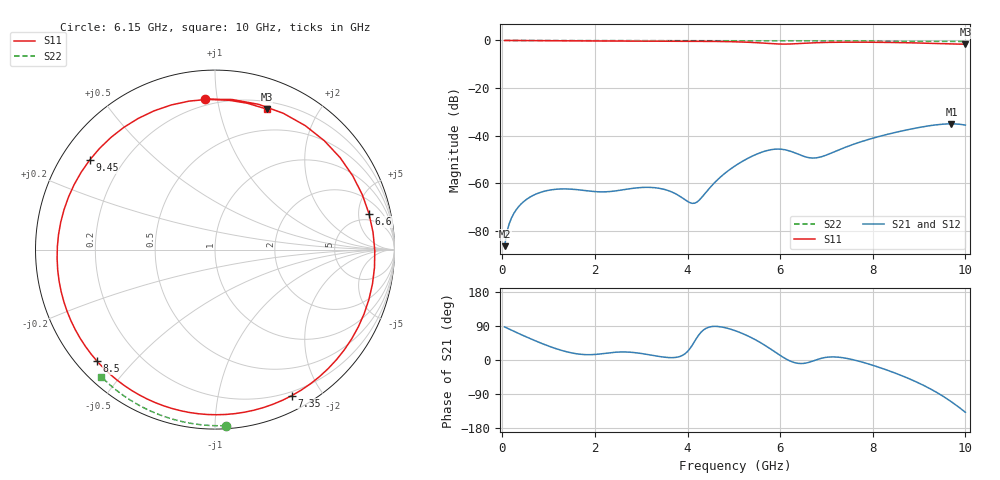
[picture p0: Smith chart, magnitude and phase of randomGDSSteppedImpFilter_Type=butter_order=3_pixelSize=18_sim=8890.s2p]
! freq	dB(S11)	phase(S11)	dB(S12)	phase(S12)
!  dB(S21)	phase(S21)	dB(S22)	phase(S22)
!S-par simulation data
#  GHz  S  DB  R 50
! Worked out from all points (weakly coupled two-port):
!   200 points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, 50 MHz to 10 GHz, reference 50 ohm
!   highest |S21| = -35.08 dB at 9.7 GHz (marker M1); lowest = -86.5 dB at 50 MHz (marker M2)
!   lowest |S11| = -1.6 dB at 10 GHz (marker M3), VSWR 11.06, Z = 13.6 + j69.8 ohm
!   |S11| at or under -10 dB: nowhere
!   |S22| runs from -0.4 to 0.0 dB; largest |S21 - S12| = 0
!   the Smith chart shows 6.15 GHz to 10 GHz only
!   S11 on the Smith chart (normalised r, x): 6.15 GHz: 0.16, +0.92; 6.6 GHz: 3.73, +6.65; 7.35 GHz: 0.16, -1.65; 8.5 GHz: 0.06, -0.40; 9.45 GHz: 0.08, +0.32; 10 GHz: 0.27, +1.40
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0.05  -0.01 -5.0  -86.54 87.2  -86.54 87.2  -0.00 -0.8
0.4  -0.05 -39.7  -68.91 67.4  -68.91 67.4  -0.01 -6.1
0.9  -0.12 -88.7  -63.46 41.4  -63.46 41.4  -0.02 -13.6
1.75  -0.19 -169.5  -63.05 14.5  -63.05 14.5  -0.03 -26.3
2.15  -0.22 153.5  -63.70 16.5  -63.70 16.5  -0.04 -32.1
2.65  -0.24 108.7  -62.68 21.2  -62.68 21.2  -0.05 -39.4
3.4  -0.28 45.4  -62.23 9.1  -62.23 9.1  -0.07 -50.0
4.2  -0.34 -17.4  -68.03 58.4  -68.03 58.4  -0.09 -61.0
5.05  -0.58 -89.1  -52.46 76.4  -52.46 76.4  -0.11 -72.4
5.4  -0.84 -128.6  -48.64 57.6  -48.64 57.6  -0.12 -76.9
5.7  -1.20 -174.2  -46.40 36.5  -46.40 36.5  -0.13 -80.8
5.9  -1.44 147.4  -45.73 20.3  -45.73 20.3  -0.14 -83.3
6.15  -1.52 94.0  -46.19 1.2  -46.19 1.2  -0.15 -86.5
6.6  -1.10 13.1  -49.22 -6.8  -49.22 -6.8  -0.18 -92.0
6.7  -1.01 -0.3  -49.46 -3.0  -49.46 -3.0  -0.18 -93.3
7.35  -0.73 -62.2  -45.39 6.1  -45.39 6.1  -0.22 -101.1
8.35  -0.83 -126.9  -39.32 -28.5  -39.32 -28.5  -0.29 -112.9
8.5  -0.87 -136.5  -38.63 -35.3  -38.63 -35.3  -0.30 -114.7
9.05  -1.10 -176.8  -36.43 -64.1  -36.43 -64.1  -0.35 -121.0
9.45  -1.33 144.5  -35.33 -90.6  -35.33 -90.6  -0.39 -125.5
9.7  -1.47 113.7  -35.08 -110.5  -35.08 -110.5  -0.41 -128.4
10  -1.57 69.9  -35.60 -138.0  -35.60 -138.0  -0.45 -131.8
